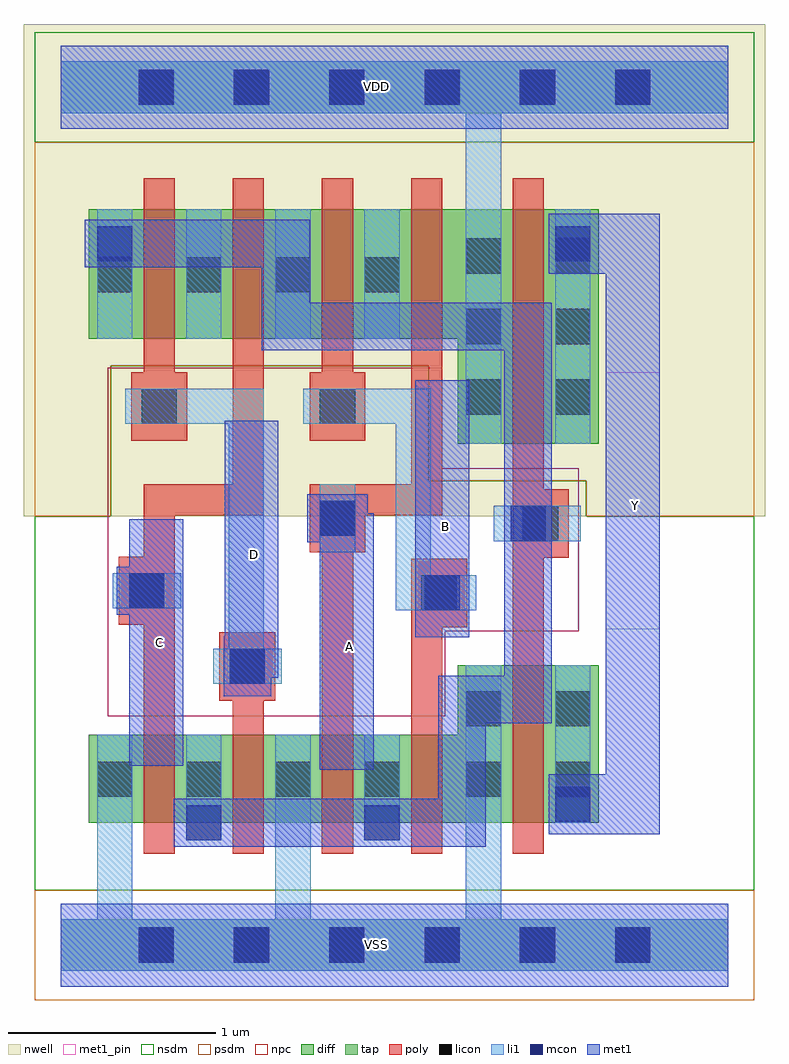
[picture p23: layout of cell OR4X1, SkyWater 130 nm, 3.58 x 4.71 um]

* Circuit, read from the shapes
.subckt OR4X1 A B C D VDD VSS Y
XM1 n1 C VSS VSS sky130_fd_pr__nfet_01v8 w=0.425 l=0.15
XM2 VSS D n1 VSS sky130_fd_pr__nfet_01v8 w=0.425 l=0.15
XM3 n1 A VSS VSS sky130_fd_pr__nfet_01v8 w=0.425 l=0.15
XM4 VSS B n1 VSS sky130_fd_pr__nfet_01v8 w=0.425 l=0.15
XM5 Y n1 VSS VSS sky130_fd_pr__nfet_01v8 w=0.76 l=0.15
XM6 n2 D n1 VDD sky130_fd_pr__pfet_01v8 w=0.625 l=0.15
XM7 n3 C n2 VDD sky130_fd_pr__pfet_01v8 w=0.625 l=0.15
XM8 n4 B n3 VDD sky130_fd_pr__pfet_01v8 w=0.625 l=0.15
XM9 VDD A n4 VDD sky130_fd_pr__pfet_01v8 w=0.625 l=0.15
XM10 Y n1 VDD VDD sky130_fd_pr__pfet_01v8 w=1.13 l=0.15
.ends

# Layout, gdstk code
from math import pi, radians
import gdstk
lib = gdstk.Library(unit=1e-6, precision=1e-09)
def R(c, l, rs):  # rectangles x0, y0, x1, y1
    for r in rs: c.add(gdstk.rectangle(r[:2], r[2:], *l))
def A(c, l, x, y, w, h, nx, ny, dx, dy):  # array of equal rectangles
    R(c, l, [(x+i*dx, y+j*dy, x+i*dx+w, y+j*dy+h) for i in range(nx) for j in range(ny)])
def P(c, l, *ps):  # polygons
    for p in ps: c.add(gdstk.Polygon(p, *l))
nwell = (64, 20)
diff = (65, 20)
tap = (65, 44)
poly = (66, 20)
licon = (66, 44)
li1 = (67, 20)
mcon = (67, 44)
met1_pin = (68, 16)
met1 = (68, 20)
nsdm = (93, 44)
psdm = (94, 20)
npc = (95, 20)

pyl1con_c_cdns_751554744 = lib.new_cell('PYL1CON_C_CDNS_751554744751')
R(pyl1con_c_cdns_751554744, poly, [(-0.135,-0.165,0.135,0.165)])
R(pyl1con_c_cdns_751554744, licon, [(-0.085,-0.085,0.085,0.085)])
R(pyl1con_c_cdns_751554744, npc, [(-0.185,-0.185,0.185,0.185)])

l1m1_c_cdns_751554744753 = lib.new_cell('L1M1_C_CDNS_751554744753')
R(l1m1_c_cdns_751554744753, li1, [(-0.085,-0.165,0.085,0.165)])
R(l1m1_c_cdns_751554744753, mcon, [(-0.085,-0.085,0.085,0.085)])
R(l1m1_c_cdns_751554744753, met1, [(-0.115,-0.145,0.115,0.145)])

l1m1_c_cdns_751554744758 = lib.new_cell('L1M1_C_CDNS_751554744758')
R(l1m1_c_cdns_751554744758, li1, [(-0.085,-0.165,0.085,0.165)])
R(l1m1_c_cdns_751554744758, mcon, [(-0.085,-0.085,0.085,0.085)])
R(l1m1_c_cdns_751554744758, met1, [(-0.145,-0.115,0.145,0.115)])

l1m1_c_cdns_751554744750 = lib.new_cell('L1M1_C_CDNS_751554744750')
R(l1m1_c_cdns_751554744750, li1, [(-0.165,-0.085,0.165,0.085)])
R(l1m1_c_cdns_751554744750, mcon, [(-0.085,-0.085,0.085,0.085)])
R(l1m1_c_cdns_751554744750, met1, [(-0.115,-0.145,0.115,0.145)])

licondiff_c_cdns_7515547 = lib.new_cell('LICONDIFF_C_CDNS_751554744755')
R(licondiff_c_cdns_7515547, diff, [(-0.125,-0.145,0.125,0.145)])
R(licondiff_c_cdns_7515547, licon, [(-0.085,-0.085,0.085,0.085), (-0.085,-0.085,0.085,0.085)])

l1m1_c_cdns_751554744751 = lib.new_cell('L1M1_C_CDNS_7515547447511')
R(l1m1_c_cdns_751554744751, li1, [(-0.085,-0.085,0.085,0.165)])
R(l1m1_c_cdns_751554744751, mcon, [(-0.085,-0.085,0.085,0.085)])
R(l1m1_c_cdns_751554744751, met1, [(-0.115,-0.145,0.115,0.145)])

l1m1_c_cdns_751554744752 = lib.new_cell('L1M1_C_CDNS_7515547447523')
R(l1m1_c_cdns_751554744752, li1, [(-0.085,-0.085,0.085,0.165)])
R(l1m1_c_cdns_751554744752, mcon, [(-0.085,-0.085,0.085,0.085)])
R(l1m1_c_cdns_751554744752, met1, [(-0.145,-0.115,0.145,0.115)])

or4x1 = lib.new_cell('OR4X1')
R(or4x1, nwell, [(-0.18,2.07,3.4,4.445)])
P(or4x1, diff, [(2.595,3.55),(0.135,3.55),(0.135,2.925),(1.915,2.925),(1.915,2.42),(2.595,2.42)],
  [(2.595,1.35),(1.915,1.35),(1.915,1.015),(0.135,1.015),(0.135,0.59),(2.595,0.59)])
R(or4x1, poly, [(0.83,0.44,0.98,1.465), (1.69,0.44,1.84,1.7), (2.18,0.44,2.33,3.7), (0.4,2.55,0.55,3.7), (1.26,2.55,1.41,3.7)])
P(or4x1, poly, [(0.98,3.7),(0.83,3.7),(0.83,2.225),(0.4,2.225),(0.4,0.44),(0.55,0.44),(0.55,2.075),(0.98,2.075)],
  [(1.84,3.7),(1.69,3.7),(1.69,2.225),(1.26,2.225),(1.26,0.44),(1.41,0.44),(1.41,2.075),(1.84,2.075)])
A(or4x1, licon, 0.375, -0.085, 0.17, 0.17, 6, 2, 0.46, 4.14)
A(or4x1, licon, 0.175, 0.715, 0.17, 0.17, 4, 1, 0.43, 0)
A(or4x1, licon, 1.955, 2.56, 0.17, 0.17, 1, 3, 0, 0.34)
A(or4x1, licon, 2.385, 2.56, 0.17, 0.17, 1, 3, 0, 0.34)
R(or4x1, licon, [(1.955,0.715,2.125,0.885), (2.385,0.715,2.555,0.885), (1.955,1.055,2.125,1.225), (2.385,1.055,2.555,1.225), (0.175,3.15,0.345,3.32)])
R(or4x1, li1, [(0.605,0.59,0.775,1.015), (1.465,0.59,1.635,1.015), (2.385,0.59,2.555,1.35), (2.385,2.42,2.555,3.55), (0.175,2.925,0.345,3.55)])
P(or4x1, li1, [(1.94,1.785),(1.785,1.785),(1.785,2.685),(1.17,2.685),(1.17,2.515),(1.615,2.515),(1.615,1.615),(1.94,1.615)],
  [(3.22,4.265),(0,4.265),(0,4.015),(1.955,4.015),(1.955,2.42),(2.125,2.42),(2.125,4.015),(3.22,4.015)],
  [(3.22,0.125),(2.125,0.125),(2.125,1.35),(1.955,1.35),(1.955,0.125),(1.205,0.125),(1.205,1.015),(1.035,1.015),(1.035,0.125),(0.345,0.125),(0.345,1.015),(0.175,1.015),(0.175,0.125),(0,0.125),(0,-0.125),(3.22,-0.125)])
A(or4x1, mcon, 0.375, -0.085, 0.17, 0.17, 6, 2, 0.46, 4.14)
R(or4x1, met1_pin, [(1.25,0.845,1.51,2.085), (0.33,0.865,0.59,2.055), (0.79,1.29,1.05,2.53), (1.71,1.485,1.97,2.725), (2.63,1.525,2.89,2.765)])
P(or4x1, met1, [(2.37,3.1),(1.2,3.1),(1.2,3.5),(0.275,3.5),(0.275,3.27),(0.97,3.27),(0.97,2.87),(2.14,2.87),(2.14,1.3),(1.82,1.3),(1.82,0.705),(0.545,0.705),(0.545,0.475),(2.05,0.475),(2.05,1.07),(2.37,1.07)],
  [(2.89,3.53),(2.5,3.53),(2.5,3.24),(2.63,3.24),(2.63,0.825),(2.47,0.825),(2.47,0.535),(2.89,0.535)])
R(or4x1, nsdm, [(-0.125,3.875,3.345,4.405)])
P(or4x1, nsdm, [(3.345,2.07),(2.535,2.07),(2.535,2.24),(1.775,2.24),(1.775,2.795),(0.24,2.795),(0.24,2.07),(-0.125,2.07),(-0.125,0.265),(3.345,0.265)])
R(or4x1, psdm, [(-0.125,-0.265,3.345,0.265)])
P(or4x1, psdm, [(3.345,3.875),(-0.125,3.875),(-0.125,2.07),(0.24,2.07),(0.24,2.795),(1.775,2.795),(1.775,2.24),(2.535,2.24),(2.535,2.07),(3.345,2.07)])
P(or4x1, npc, [(2.5,2.3),(1.84,2.3),(1.84,2.785),(0.225,2.785),(0.225,1.105),(1.855,1.105),(1.855,1.515),(2.5,1.515)])
or4x1.add(gdstk.FlexPath([(1.55,2.925),(1.55,3.55)], 0.17, ends="flush", simple_path=True, layer=67, datatype=20))  # li1
or4x1.add(gdstk.FlexPath([(1.12,2.925),(1.12,3.55)], 0.17, ends="flush", simple_path=True, layer=67, datatype=20))  # li1
or4x1.add(gdstk.FlexPath([(0.31,2.6),(0.895,2.6),(0.895,1.38)], 0.17, ends="flush", simple_path=True, layer=67, datatype=20))  # li1
or4x1.add(gdstk.FlexPath([(2.255,2.035),(2.51,2.035)], 0.17, ends="flush", simple_path=True, layer=67, datatype=20))  # li1
or4x1.add(gdstk.FlexPath([(0.69,2.925),(0.69,3.55)], 0.17, ends="flush", simple_path=True, layer=67, datatype=20))  # li1
or4x1.add(gdstk.FlexPath([(0,0),(3.22,0)], 0.4, ends="flush", simple_path=True, layer=68, datatype=20))  # met1
or4x1.add(gdstk.FlexPath([(0,4.14),(3.22,4.14)], 0.4, ends="flush", simple_path=True, layer=68, datatype=20))  # met1
or4x1.add(gdstk.FlexPath([(0.92,1.29),(0.92,2.53)], 0.26, ends="flush", simple_path=True, layer=68, datatype=20))  # met1
or4x1.add(gdstk.FlexPath([(0.46,0.865),(0.46,2.055)], 0.26, ends="flush", simple_path=True, layer=68, datatype=20))  # met1
or4x1.add(gdstk.FlexPath([(1.84,1.485),(1.84,2.725)], 0.26, ends="flush", simple_path=True, layer=68, datatype=20))  # met1
or4x1.add(gdstk.FlexPath([(1.38,0.845),(1.38,2.085)], 0.26, ends="flush", simple_path=True, layer=68, datatype=20))  # met1
or4x1.add(gdstk.FlexPath([(0,4.14),(3.22,4.14)], 0.4, ends="flush", simple_path=True, layer=68, datatype=16))  # met1_pin
or4x1.add(gdstk.FlexPath([(0,0),(3.22,0)], 0.4, ends="flush", simple_path=True, layer=68, datatype=16))  # met1_pin
or4x1.add(gdstk.FlexPath([(0,0),(3.22,0)], 0.25, ends="flush", simple_path=True, layer=65, datatype=44))  # tap
or4x1.add(gdstk.FlexPath([(0,4.14),(3.22,4.14)], 0.25, ends="flush", simple_path=True, layer=65, datatype=44))  # tap
or4x1.add(gdstk.Reference(pyl1con_c_cdns_751554744, (0.415,1.71), x_reflection=True))
or4x1.add(gdstk.Reference(pyl1con_c_cdns_751554744, (1.335,2.06), x_reflection=True))
or4x1.add(gdstk.Reference(pyl1con_c_cdns_751554744, (2.315,2.035), rotation=pi, x_reflection=True))
or4x1.add(gdstk.Reference(pyl1con_c_cdns_751554744, (1.825,1.7), x_reflection=True))
or4x1.add(gdstk.Reference(pyl1con_c_cdns_751554744, (1.335,2.6), x_reflection=True))
or4x1.add(gdstk.Reference(pyl1con_c_cdns_751554744, (0.9,1.345), x_reflection=True))
or4x1.add(gdstk.Reference(pyl1con_c_cdns_751554744, (0.475,2.6), x_reflection=True))
or4x1.add(gdstk.Reference(l1m1_c_cdns_751554744753, (2.47,3.385)))
or4x1.add(gdstk.Reference(l1m1_c_cdns_751554744753, (0.415,1.71), rotation=pi/2, x_reflection=True))
or4x1.add(gdstk.Reference(l1m1_c_cdns_751554744758, (0.26,3.385)))
or4x1.add(gdstk.Reference(l1m1_c_cdns_751554744750, (0.9,1.345), x_reflection=True))
or4x1.add(gdstk.Reference(l1m1_c_cdns_751554744750, (2.255,2.035)))
or4x1.add(gdstk.Reference(l1m1_c_cdns_751554744750, (1.335,2.06), rotation=pi/2, x_reflection=True))
or4x1.add(gdstk.Reference(l1m1_c_cdns_751554744750, (1.84,1.7), x_reflection=True))
or4x1.add(gdstk.Reference(licondiff_c_cdns_7515547, (1.55,3.235)))
or4x1.add(gdstk.Reference(licondiff_c_cdns_7515547, (1.12,3.235)))
or4x1.add(gdstk.Reference(licondiff_c_cdns_7515547, (0.69,3.235)))
or4x1.add(gdstk.Reference(l1m1_c_cdns_751554744751, (2.47,0.68)))
or4x1.add(gdstk.Reference(l1m1_c_cdns_751554744752, (0.69,0.59)))
or4x1.add(gdstk.Reference(l1m1_c_cdns_751554744752, (1.55,0.59)))
or4x1.add(gdstk.Label('VDD', (1.525,4.145), layer=68, texttype=5))
or4x1.add(gdstk.Label('D', (0.935,1.885), layer=68, texttype=5))
or4x1.add(gdstk.Label('B', (1.855,2.02), layer=68, texttype=5))
or4x1.add(gdstk.Label('C', (0.475,1.46), layer=68, texttype=5))
or4x1.add(gdstk.Label('A', (1.395,1.44), layer=68, texttype=5))
or4x1.add(gdstk.Label('Y', (2.775,2.12), layer=68, texttype=5))
or4x1.add(gdstk.Label('VSS', (1.525,0.005), layer=68, texttype=5))

lib.write_gds('OR4X1.gds')
